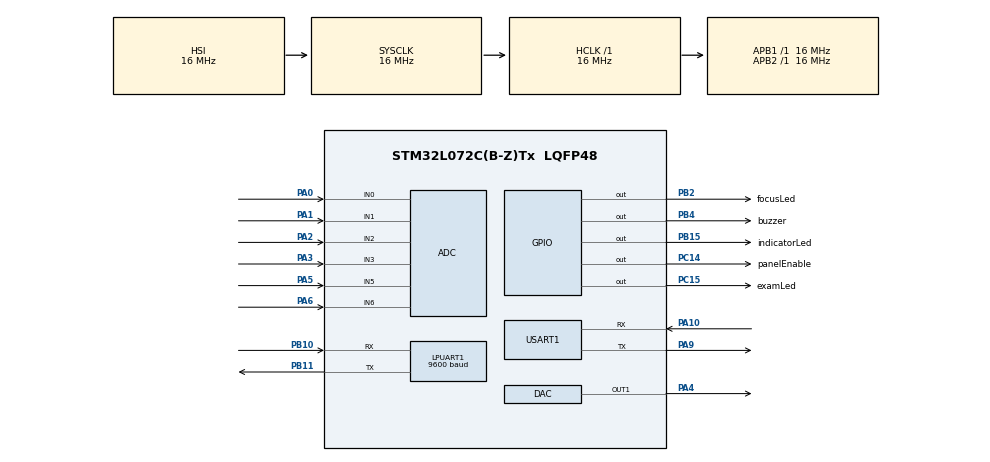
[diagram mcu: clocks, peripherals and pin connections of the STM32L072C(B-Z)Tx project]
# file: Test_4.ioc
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ADC.ContinuousConvMode=DISABLE
ADC.DMAContinuousRequests=ENABLE
Dma.ADC.0.Direction=DMA_PERIPH_TO_MEMORY
Dma.ADC.0.Instance=DMA1_Channel1
Dma.ADC.0.MemDataAlignment=DMA_MDATAALIGN_HALFWORD
Dma.ADC.0.MemInc=DMA_MINC_ENABLE
Dma.ADC.0.Mode=DMA_CIRCULAR
Dma.ADC.0.PeriphDataAlignment=DMA_PDATAALIGN_HALFWORD
Dma.ADC.0.PeriphInc=DMA_PINC_DISABLE
Dma.ADC.0.Priority=DMA_PRIORITY_LOW
Dma.LPUART1_RX.1.Direction=DMA_PERIPH_TO_MEMORY
Dma.LPUART1_RX.1.Instance=DMA1_Channel3
Dma.LPUART1_RX.1.MemDataAlignment=DMA_MDATAALIGN_BYTE
Dma.LPUART1_RX.1.MemInc=DMA_MINC_ENABLE
Dma.LPUART1_RX.1.Mode=DMA_NORMAL
Dma.LPUART1_RX.1.PeriphDataAlignment=DMA_PDATAALIGN_BYTE
Dma.LPUART1_RX.1.PeriphInc=DMA_PINC_DISABLE
Dma.LPUART1_RX.1.Priority=DMA_PRIORITY_LOW
Dma.Request0=ADC
Dma.Request1=LPUART1_RX
LPUART1.BaudRate=9600
LPUART1.WordLength=UART_WORDLENGTH_8B
Mcu.Family=STM32L0
Mcu.Name=STM32L072C(B-Z)Tx
Mcu.Package=LQFP48
NVIC.DMA1_Channel1_IRQn=true\:0\:0\:false\:false\:true\:false\:true
NVIC.DMA1_Channel2_3_IRQn=true\:0\:0\:false\:false\:true\:false\:true
NVIC.TIM7_IRQn=true\:0\:0\:false\:false\:true\:true\:true
NVIC.USART1_IRQn=true\:0\:0\:false\:false\:true\:true\:true
PA0.Mode=IN0
PA0.Signal=ADC_IN0
PA1.Mode=IN1
PA1.Signal=ADC_IN1
PA10.Mode=Asynchronous
PA10.Signal=USART1_RX
PA13.Mode=Serial_Wire
PA13.Signal=SYS_SWDIO
PA14.Mode=Serial_Wire
PA14.Signal=SYS_SWCLK
PA2.Mode=IN2
PA2.Signal=ADC_IN2
PA3.Mode=IN3
PA3.Signal=ADC_IN3
PA4.Signal=COMP_DAC1_group
PA5.Mode=IN5
PA5.Signal=ADC_IN5
PA6.Mode=IN6
PA6.Signal=ADC_IN6
PA9.Mode=Asynchronous
PA9.Signal=USART1_TX
PB10.Mode=Asynchronous
PB10.Signal=LPUART1_RX
PB11.Mode=Asynchronous
PB11.Signal=LPUART1_TX
PB15.GPIO_Label=indicatorLed
PB15.Signal=GPIO_Output
PB2.GPIO_Label=focusLed
PB2.Signal=GPIO_Output
PB4.GPIO_Label=buzzer
PB4.Signal=GPIO_Output
PC14-OSC32_IN.GPIO_Label=panelEnable
PC14-OSC32_IN.Signal=GPIO_Output
PC15-OSC32_OUT.GPIO_Label=examLed
PC15-OSC32_OUT.Signal=GPIO_Output
ProjectManager.HeapSize=0x200
ProjectManager.StackSize=0x400
ProjectManager.TargetToolchain=MDK-ARM V5
RCC.AHBFreq_Value=16000000
RCC.APB1Freq_Value=16000000
RCC.APB1TimFreq_Value=16000000
RCC.APB2Freq_Value=16000000
RCC.APB2TimFreq_Value=16000000
RCC.HCLKFreq_Value=16000000
RCC.HSE_VALUE=8000000
RCC.HSI16_VALUE=16000000
RCC.HSI48_VALUE=48000000
RCC.HSI_VALUE=16000000
RCC.LSE_VALUE=32768
RCC.MSI_VALUE=2097000
RCC.SYSCLKFreq_VALUE=16000000
RCC.SYSCLKSource=RCC_SYSCLKSOURCE_HSI
RCC.VCOOutputFreq_Value=48000000
SH.COMP_DAC1_group.0=DAC_OUT1,DAC_OUT1
TIM7.Period=3999
TIM7.Prescaler=3999
USART1.VirtualMode-Asynchronous=VM_ASYNC
VP_RTC_VS_RTC_Activate.Mode=RTC_Enabled
VP_RTC_VS_RTC_Calendar.Mode=RTC_Calendar
VP_TIM7_VS_ClockSourceINT.Mode=Enable_Timer
board=custom

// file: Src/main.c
/* USER CODE BEGIN Header */
/**
  ******************************************************************************
  * @file           : main.c
  * @brief          : Main program body
  ******************************************************************************
  * @attention
  *
  * <h2><center>&copy; Copyright (c) 2021 STMicroelectronics.
  * All rights reserved.</center></h2>
  *
  * This software component is licensed by ST under BSD 3-Clause license,
  * the "License"; You may not use this file except in compliance with the
  * License. You may obtain a copy of the License at:
  *                        opensource.org/licenses/BSD-3-Clause
  *
  ******************************************************************************
  */
/* USER CODE END Header */

#include "main.h"
#include "stdbool.h"

ADC_HandleTypeDef hadc;
DMA_HandleTypeDef hdma_adc;

DAC_HandleTypeDef hdac;

UART_HandleTypeDef hlpuart1;
UART_HandleTypeDef huart1;
DMA_HandleTypeDef hdma_lpuart1_rx;

RTC_HandleTypeDef hrtc;

TIM_HandleTypeDef htim7;

/* USER CODE BEGIN PV */
RTC_TimeTypeDef sTime = {0};
RTC_DateTypeDef sDate = {0};
uint8_t Time[3];
uint8_t Date[3];

uint16_t adc_buf[6];
uint8_t screen_rx_buf[1];
uint8_t change_page[] = {'p', 'a', 'g', 'e', ' ', 'x', 0xff, 0xff, 0xff};
uint8_t temp[] = {'x', '0', '.', 'v', 'a', 'l', '=', '-', '-', '-', 0xff, 0xff, 0xff};

int dac_value = 0;
uint8_t state=0;
uint8_t idle_state=0x00u;

extern char string_t_celcius[3];
extern uint8_t Rx_Data[2];

/* USER CODE END PV */

void SystemClock_Config(void);
static void MX_GPIO_Init(void);
static void MX_DMA_Init(void);
static void MX_DAC_Init(void);
static void MX_ADC_Init(void);
static void MX_LPUART1_UART_Init(void);
static void MX_USART1_UART_Init(void);
static void MX_RTC_Init(void);
static void MX_TIM7_Init(void);
/* USER CODE BEGIN PFP */
void update_time()
{
	HAL_RTC_GetTime(&hrtc, &sTime, RTC_FORMAT_BIN); // Get Time
	HAL_RTC_GetDate(&hrtc, &sDate, RTC_FORMAT_BIN); // Get Date

	Time[0] = sTime.Hours;
	Time[1] = sTime.Minutes;
	Time[2] = sTime.Seconds;

	Date[0] = sDate.Date;
	Date[1] = sDate.Month;
	Date[2] = sDate.Year;
}

void change_page_func(char page)
{
	change_page[5] = page;
	HAL_UART_Transmit(&hlpuart1, change_page, sizeof(change_page), 200);
}

void send_temp()
{
	temp[7]=string_t_celcius[0];
	temp[8]=string_t_celcius[1];
	temp[9]=string_t_celcius[2];
	HAL_UART_Transmit(&hlpuart1, temp, sizeof(temp), 200);
}

bool check_esp32_module()
{
	uint8_t Tx_Buffer_Echo[] = {'A', 'T', 'E', '0', '\r', '\n'};
	HAL_UART_Transmit(&huart1, Tx_Buffer_Echo, sizeof(Tx_Buffer_Echo), 100);
	HAL_Delay(10);
}

bool mode_select()
{
	uint8_t Tx_Buffer_Cwmode[] = {'A', 'T', '+', 'C', 'W', 'M', 'O', 'D', 'E', '=', '1', '\r', '\n'};
	HAL_UART_Transmit(&huart1, Tx_Buffer_Cwmode, sizeof(Tx_Buffer_Cwmode), 100);
	HAL_Delay(10);
}

bool join_ap()
{
	uint8_t Tx_Buffer_Cwjap[] = {'A', 'T', '+', 'C', 'W', 'J', 'A', 'P', '=',
															 '"', 'E', 'r', 't', 'u', 'n', 'c', 'O', 'z', 'c', 'a', 'n', 'K', 'a', 't', '2', '"', ',',
															 '"', 'e', 'r', 't', 'a', 'r', 'g', 'e', '2', '0', '1', '7', '"', '\r', '\n'};
	HAL_UART_Transmit(&huart1, Tx_Buffer_Cwjap, sizeof(Tx_Buffer_Cwjap), 100);
	HAL_Delay(10);
}

bool show_ip()
{
	uint8_t Tx_Buffer_Cifsr[] = {'A', 'T', '+', 'C', 'I', 'F', 'S', 'R', '\r', '\n'};
	HAL_UART_Transmit(&huart1, Tx_Buffer_Cifsr, sizeof(Tx_Buffer_Cifsr), 100);
	HAL_Delay(10);
}

bool cip_status()
{
	uint8_t Tx_Buffer_Cipstatus[] = {'A', 'T', '+', 'C', 'I', 'P', 'S', 'T', 'A', 'T', 'U', 'S', '\r', '\n'};
	HAL_UART_Transmit(&huart1, Tx_Buffer_Cipstatus, sizeof(Tx_Buffer_Cipstatus), 100);
	HAL_Delay(10);
}

bool cip_start()
{
	uint8_t Tx_Buffer_Cipstart[] = {'A', 'T', '+', 'C', 'I', 'P', 'S', 'T', 'A', 'R', 'T', '=', '"',
																	'T', 'C', 'P', '"', ',', '"', '1', '9', '2', '.', '1', '6', '8', '.', '1', '.', '1', '5', '3', '"',
																	',', '8', '0', '0', '0', '\r', '\n'};
	HAL_UART_Transmit(&huart1, Tx_Buffer_Cipstart, sizeof(Tx_Buffer_Cipstart), 100);
	HAL_Delay(10);
}

bool httpsend()
{
	uint8_t Tx_Buffer_httpcli[] = {'A', 'T', '+', 'H', 'T', 'T', 'P', 'C', 'L', 'I', 'E', 'N', 'T', '=', '3', ',', '1', ',',
		'"','h', 't', 't', 'p', ':', '/', '/', '1', '9', '2', '.', '1', '6', '8', '.', '1', '.', '1', '5', '3', ':', '8', '0', '0', '0', '/', 'a', 'p', 'i', '/',
		'c', 'a', 't', 'e', 'g', 'o', 'r', 'y', '/', 'c', 'r', 'e', 'a', 't', 'e',
		'"', ',', ',', ',', '0', ',', '"', 'n', 'a', 'm', 'e', '=', 'x', 'y', 'z',
		'&', 't', 'e', 'm', 'p', 'e', 'r', 'a', 't', 'u', 'r', 'e', '=', '2', '4', '5', '"', '\r', '\n'};
	HAL_UART_Transmit(&huart1, Tx_Buffer_httpcli, sizeof(Tx_Buffer_httpcli), 100);
	HAL_Delay(10);
}

bool httpget()
{
	uint8_t Tx_Buffer_httpget[] = {'A', 'T', '+', 'H', 'T', 'T', 'P', 'C', 'L', 'I', 'E', 'N', 'T', '=', '2', ',', '0', ',',
		'"','h', 't', 't', 'p', ':', '/', '/', 'w', 'w', 'w', '.', 'g', 'o', 'o', 'g', 'l', 'e', '.', 'c', 'o', 'm', '"', ',',
		'"', '/', 'g', 'e', 't', '"', ',', '1', '\r', '\n'};
	HAL_UART_Transmit(&huart1, Tx_Buffer_httpget, sizeof(Tx_Buffer_httpget), 100);
	HAL_Delay(10);
}
/* USER CODE END PFP */

int main(void)
{

  /* MCU Configuration--------------------------------------------------------*/

  /* Reset of all peripherals, Initializes the Flash interface and the Systick. */
  HAL_Init();

  /* Configure the system clock */
  SystemClock_Config();
	HAL_Delay(1200);

  /* Initialize all configured peripherals */
  MX_GPIO_Init();
  MX_DMA_Init();
  MX_DAC_Init();
  MX_ADC_Init();
  MX_LPUART1_UART_Init();
  MX_USART1_UART_Init();
  MX_RTC_Init();
  MX_TIM7_Init();
  /* USER CODE BEGIN 2 */
	change_page_func('0');

	__HAL_UART_ENABLE_IT(&huart1, UART_IT_RXNE);
	while(HAL_ADCEx_Calibration_Start(&hadc, ADC_SINGLE_ENDED) != HAL_OK){};	// Kalibrasyon yap
	HAL_ADC_Start_DMA(&hadc, (uint32_t*)adc_buf, 6);
	HAL_DAC_Start(&hdac, DAC_CHANNEL_1);
	HAL_DAC_SetValue(&hdac, DAC_CHANNEL_1, DAC_ALIGN_12B_R, 0);
	HAL_TIM_Base_Start_IT(&htim7);

	/*check_esp32_module();
	HAL_Delay(3000);
	mode_select();
	HAL_Delay(3000);
	join_ap();
	HAL_Delay(3000);
	cip_status();
	HAL_Delay(3000);
	show_ip();
	HAL_Delay(3000);*/
	//httpget();
	//HAL_Delay(3000);
	//check_esp32_module();

	while(Rx_Data[0]!='c')
	{
		HAL_GPIO_TogglePin(indicatorLed_GPIO_Port, indicatorLed_Pin);
		HAL_Delay(100);
	}
	HAL_GPIO_WritePin(indicatorLed_GPIO_Port, indicatorLed_Pin, GPIO_PIN_SET);

	Rx_Data[0]=0;
	change_page_func('1');

  /* USER CODE END 2 */
	HAL_UART_Receive_DMA(&hlpuart1, screen_rx_buf, 1);
  /* Infinite loop */
  /* USER CODE BEGIN WHILE */

  while (1)
  {
    update_time();
		state = Rx_Data[0];
		if(state!=0)
		{
			switch(state)
			{
				case 'S':
					HAL_GPIO_TogglePin(panelEnable_GPIO_Port, panelEnable_Pin);
					break;
				case 'F':
					HAL_GPIO_TogglePin(focusLed_GPIO_Port, focusLed_Pin);
					break;
				case 'E':
					HAL_GPIO_TogglePin(examLed_GPIO_Port, examLed_Pin);
					break;
				case 'T':
					change_page_func('2');
					break;
				case 'O':
					change_page_func('3');
					break;
				case 'X':
					change_page_func('1');
					break;
				case 't':
					HAL_UART_Transmit(&huart1, (uint8_t*)string_t_celcius, sizeof(string_t_celcius), 100);
					break;
				case 'e':
					HAL_GPIO_WritePin(buzzer_GPIO_Port, buzzer_Pin, GPIO_PIN_SET);
					HAL_Delay(100);
					HAL_GPIO_WritePin(buzzer_GPIO_Port, buzzer_Pin, GPIO_PIN_RESET);
					break;
				case '1':
					HAL_DAC_SetValue(&hdac, DAC_CHANNEL_1, DAC_ALIGN_12B_R, 300);
					break;
				case '2':
					HAL_DAC_SetValue(&hdac, DAC_CHANNEL_1, DAC_ALIGN_12B_R, 510);
					break;
				case '3':
					HAL_DAC_SetValue(&hdac, DAC_CHANNEL_1, DAC_ALIGN_12B_R, 725);
					break;
				case '4':
					HAL_DAC_SetValue(&hdac, DAC_CHANNEL_1, DAC_ALIGN_12B_R, 950);
					break;
				case '5':
					HAL_DAC_SetValue(&hdac, DAC_CHANNEL_1, DAC_ALIGN_12B_R, 1305);
					break;
			}
			Rx_Data[0]=0;
		}
		//send_temp();

  }
}

void SystemClock_Config(void)
{
  RCC_OscInitTypeDef RCC_OscInitStruct = {0};
  RCC_ClkInitTypeDef RCC_ClkInitStruct = {0};
  RCC_PeriphCLKInitTypeDef PeriphClkInit = {0};

  /** Configure the main internal regulator output voltage
  */
  __HAL_PWR_VOLTAGESCALING_CONFIG(PWR_REGULATOR_VOLTAGE_SCALE1);
  /** Initializes the CPU, AHB and APB busses clocks
  */
  RCC_OscInitStruct.OscillatorType = RCC_OSCILLATORTYPE_HSI|RCC_OSCILLATORTYPE_LSI;
  RCC_OscInitStruct.HSIState = RCC_HSI_ON;
  RCC_OscInitStruct.HSICalibrationValue = RCC_HSICALIBRATION_DEFAULT;
  RCC_OscInitStruct.LSIState = RCC_LSI_ON;
  RCC_OscInitStruct.PLL.PLLState = RCC_PLL_NONE;
  if (HAL_RCC_OscConfig(&RCC_OscInitStruct) != HAL_OK)
  {
    Error_Handler();
  }
  /** Initializes the CPU, AHB and APB busses clocks
  */
  RCC_ClkInitStruct.ClockType = RCC_CLOCKTYPE_HCLK|RCC_CLOCKTYPE_SYSCLK
                              |RCC_CLOCKTYPE_PCLK1|RCC_CLOCKTYPE_PCLK2;
  RCC_ClkInitStruct.SYSCLKSource = RCC_SYSCLKSOURCE_HSI;
  RCC_ClkInitStruct.AHBCLKDivider = RCC_SYSCLK_DIV1;
  RCC_ClkInitStruct.APB1CLKDivider = RCC_HCLK_DIV1;
  RCC_ClkInitStruct.APB2CLKDivider = RCC_HCLK_DIV1;

  if (HAL_RCC_ClockConfig(&RCC_ClkInitStruct, FLASH_LATENCY_0) != HAL_OK)
  {
    Error_Handler();
  }
  PeriphClkInit.PeriphClockSelection = RCC_PERIPHCLK_USART1|RCC_PERIPHCLK_LPUART1
                              |RCC_PERIPHCLK_RTC;
  PeriphClkInit.Usart1ClockSelection = RCC_USART1CLKSOURCE_PCLK2;
  PeriphClkInit.Lpuart1ClockSelection = RCC_LPUART1CLKSOURCE_PCLK1;
  PeriphClkInit.RTCClockSelection = RCC_RTCCLKSOURCE_LSI;
  if (HAL_RCCEx_PeriphCLKConfig(&PeriphClkInit) != HAL_OK)
  {
    Error_Handler();
  }
}

static void MX_ADC_Init(void)
{

  ADC_ChannelConfTypeDef sConfig = {0};

  /** Configure the global features of the ADC (Clock, Resolution, Data Alignment and number of conversion)
  */
  hadc.Instance = ADC1;
  hadc.Init.OversamplingMode = DISABLE;
  hadc.Init.ClockPrescaler = ADC_CLOCK_SYNC_PCLK_DIV1;
  hadc.Init.Resolution = ADC_RESOLUTION_12B;
  hadc.Init.SamplingTime = ADC_SAMPLETIME_1CYCLE_5;
  hadc.Init.ScanConvMode = ADC_SCAN_DIRECTION_FORWARD;
  hadc.Init.DataAlign = ADC_DATAALIGN_RIGHT;
  hadc.Init.ContinuousConvMode = DISABLE;
  hadc.Init.DiscontinuousConvMode = DISABLE;
  hadc.Init.ExternalTrigConvEdge = ADC_EXTERNALTRIGCONVEDGE_NONE;
  hadc.Init.ExternalTrigConv = ADC_SOFTWARE_START;
  hadc.Init.DMAContinuousRequests = ENABLE;
  hadc.Init.EOCSelection = ADC_EOC_SINGLE_CONV;
  hadc.Init.Overrun = ADC_OVR_DATA_PRESERVED;
  hadc.Init.LowPowerAutoWait = DISABLE;
  hadc.Init.LowPowerFrequencyMode = DISABLE;
  hadc.Init.LowPowerAutoPowerOff = DISABLE;
  if (HAL_ADC_Init(&hadc) != HAL_OK)
  {
    Error_Handler();
  }
  /** Configure for the selected ADC regular channel to be converted.
  */
  sConfig.Channel = ADC_CHANNEL_0;
  sConfig.Rank = ADC_RANK_CHANNEL_NUMBER;
  if (HAL_ADC_ConfigChannel(&hadc, &sConfig) != HAL_OK)
  {
    Error_Handler();
  }
  /** Configure for the selected ADC regular channel to be converted.
  */
  sConfig.Channel = ADC_CHANNEL_1;
  if (HAL_ADC_ConfigChannel(&hadc, &sConfig) != HAL_OK)
  {
    Error_Handler();
  }
  /** Configure for the selected ADC regular channel to be converted.
  */
  sConfig.Channel = ADC_CHANNEL_2;
  if (HAL_ADC_ConfigChannel(&hadc, &sConfig) != HAL_OK)
  {
    Error_Handler();
  }
  /** Configure for the selected ADC regular channel to be converted.
  */
  sConfig.Channel = ADC_CHANNEL_3;
  if (HAL_ADC_ConfigChannel(&hadc, &sConfig) != HAL_OK)
  {
    Error_Handler();
  }
  /** Configure for the selected ADC regular channel to be converted.
  */
  sConfig.Channel = ADC_CHANNEL_5;
  if (HAL_ADC_ConfigChannel(&hadc, &sConfig) != HAL_OK)
  {
    Error_Handler();
  }
  /** Configure for the selected ADC regular channel to be converted.
  */
  sConfig.Channel = ADC_CHANNEL_6;
  if (HAL_ADC_ConfigChannel(&hadc, &sConfig) != HAL_OK)
  {
    Error_Handler();
  }

}

static void MX_DAC_Init(void)
{

  DAC_ChannelConfTypeDef sConfig = {0};

  /** DAC Initialization
  */
  hdac.Instance = DAC;
  if (HAL_DAC_Init(&hdac) != HAL_OK)
  {
    Error_Handler();
  }
  /** DAC channel OUT1 config
  */
  sConfig.DAC_Trigger = DAC_TRIGGER_NONE;
  sConfig.DAC_OutputBuffer = DAC_OUTPUTBUFFER_ENABLE;
  if (HAL_DAC_ConfigChannel(&hdac, &sConfig, DAC_CHANNEL_1) != HAL_OK)
  {
    Error_Handler();
  }

}

static void MX_LPUART1_UART_Init(void)
{

  hlpuart1.Instance = LPUART1;
  hlpuart1.Init.BaudRate = 9600;
  hlpuart1.Init.WordLength = UART_WORDLENGTH_8B;
  hlpuart1.Init.StopBits = UART_STOPBITS_1;
  hlpuart1.Init.Parity = UART_PARITY_NONE;
  hlpuart1.Init.Mode = UART_MODE_TX_RX;
  hlpuart1.Init.HwFlowCtl = UART_HWCONTROL_NONE;
  hlpuart1.Init.OneBitSampling = UART_ONE_BIT_SAMPLE_DISABLE;
  hlpuart1.AdvancedInit.AdvFeatureInit = UART_ADVFEATURE_NO_INIT;
  if (HAL_UART_Init(&hlpuart1) != HAL_OK)
  {
    Error_Handler();
  }

}

static void MX_USART1_UART_Init(void)
{

  huart1.Instance = USART1;
  huart1.Init.BaudRate = 115200;
  huart1.Init.WordLength = UART_WORDLENGTH_8B;
  huart1.Init.StopBits = UART_STOPBITS_1;
  huart1.Init.Parity = UART_PARITY_NONE;
  huart1.Init.Mode = UART_MODE_TX_RX;
  huart1.Init.HwFlowCtl = UART_HWCONTROL_NONE;
  huart1.Init.OverSampling = UART_OVERSAMPLING_16;
  huart1.Init.OneBitSampling = UART_ONE_BIT_SAMPLE_DISABLE;
  huart1.AdvancedInit.AdvFeatureInit = UART_ADVFEATURE_NO_INIT;
  if (HAL_UART_Init(&huart1) != HAL_OK)
  {
    Error_Handler();
  }

}

static void MX_RTC_Init(void)
{

  RTC_TimeTypeDef sTime = {0};
  RTC_DateTypeDef sDate = {0};

  /** Initialize RTC Only
  */
  hrtc.Instance = RTC;
  hrtc.Init.HourFormat = RTC_HOURFORMAT_24;
  hrtc.Init.AsynchPrediv = 127;
  hrtc.Init.SynchPrediv = 255;
  hrtc.Init.OutPut = RTC_OUTPUT_DISABLE;
  hrtc.Init.OutPutRemap = RTC_OUTPUT_REMAP_NONE;
  hrtc.Init.OutPutPolarity = RTC_OUTPUT_POLARITY_HIGH;
  hrtc.Init.OutPutType = RTC_OUTPUT_TYPE_OPENDRAIN;
  if (HAL_RTC_Init(&hrtc) != HAL_OK)
  {
    Error_Handler();
  }

  /** Initialize RTC and set the Time and Date
  */
  sTime.Hours = 0x0;
  sTime.Minutes = 0x0;
  sTime.Seconds = 0x0;
  sTime.DayLightSaving = RTC_DAYLIGHTSAVING_NONE;
  sTime.StoreOperation = RTC_STOREOPERATION_RESET;
  if (HAL_RTC_SetTime(&hrtc, &sTime, RTC_FORMAT_BCD) != HAL_OK)
  {
    Error_Handler();
  }
  sDate.WeekDay = RTC_WEEKDAY_MONDAY;
  sDate.Month = RTC_MONTH_JANUARY;
  sDate.Date = 0x1;
  sDate.Year = 0x0;

  if (HAL_RTC_SetDate(&hrtc, &sDate, RTC_FORMAT_BCD) != HAL_OK)
  {
    Error_Handler();
  }

}

static void MX_TIM7_Init(void)
{

  TIM_MasterConfigTypeDef sMasterConfig = {0};

  htim7.Instance = TIM7;
  htim7.Init.Prescaler = 3999;
  htim7.Init.CounterMode = TIM_COUNTERMODE_UP;
  htim7.Init.Period = 3999;
  htim7.Init.AutoReloadPreload = TIM_AUTORELOAD_PRELOAD_DISABLE;
  if (HAL_TIM_Base_Init(&htim7) != HAL_OK)
  {
    Error_Handler();
  }
  sMasterConfig.MasterOutputTrigger = TIM_TRGO_RESET;
  sMasterConfig.MasterSlaveMode = TIM_MASTERSLAVEMODE_DISABLE;
  if (HAL_TIMEx_MasterConfigSynchronization(&htim7, &sMasterConfig) != HAL_OK)
  {
    Error_Handler();
  }

}

static void MX_DMA_Init(void)
{
  /* DMA controller clock enable */
  __HAL_RCC_DMA1_CLK_ENABLE();

  /* DMA interrupt init */
  /* DMA1_Channel1_IRQn interrupt configuration */
  HAL_NVIC_SetPriority(DMA1_Channel1_IRQn, 0, 0);
  HAL_NVIC_EnableIRQ(DMA1_Channel1_IRQn);
  /* DMA1_Channel2_3_IRQn interrupt configuration */
  HAL_NVIC_SetPriority(DMA1_Channel2_3_IRQn, 0, 0);
  HAL_NVIC_EnableIRQ(DMA1_Channel2_3_IRQn);

}

static void MX_GPIO_Init(void)
{
  GPIO_InitTypeDef GPIO_InitStruct = {0};

  /* GPIO Ports Clock Enable */
  __HAL_RCC_GPIOC_CLK_ENABLE();
  __HAL_RCC_GPIOA_CLK_ENABLE();
  __HAL_RCC_GPIOB_CLK_ENABLE();

  /*Configure GPIO pin Output Level */
  HAL_GPIO_WritePin(GPIOC, panelEnable_Pin|examLed_Pin, GPIO_PIN_RESET);

  /*Configure GPIO pin Output Level */
  HAL_GPIO_WritePin(GPIOB, focusLed_Pin|indicatorLed_Pin|buzzer_Pin, GPIO_PIN_RESET);

  /*Configure GPIO pins : panelEnable_Pin examLed_Pin */
  GPIO_InitStruct.Pin = panelEnable_Pin|examLed_Pin;
  GPIO_InitStruct.Mode = GPIO_MODE_OUTPUT_PP;
  GPIO_InitStruct.Pull = GPIO_NOPULL;
  GPIO_InitStruct.Speed = GPIO_SPEED_FREQ_LOW;
  HAL_GPIO_Init(GPIOC, &GPIO_InitStruct);

  /*Configure GPIO pins : focusLed_Pin indicatorLed_Pin buzzer_Pin */
  GPIO_InitStruct.Pin = focusLed_Pin|indicatorLed_Pin|buzzer_Pin;
  GPIO_InitStruct.Mode = GPIO_MODE_OUTPUT_PP;
  GPIO_InitStruct.Pull = GPIO_NOPULL;
  GPIO_InitStruct.Speed = GPIO_SPEED_FREQ_LOW;
  HAL_GPIO_Init(GPIOB, &GPIO_InitStruct);

}

/* USER CODE BEGIN 4 */

void HAL_UART_RxCpltCallback(UART_HandleTypeDef *huart)
{
	HAL_GPIO_TogglePin(indicatorLed_GPIO_Port, indicatorLed_Pin);
	HAL_UART_Receive_DMA(&hlpuart1, screen_rx_buf, 1);
}
/* USER CODE END 4 */

void Error_Handler(void)
{
}

/************************ (C) COPYRIGHT STMicroelectronics *****END OF FILE****/
